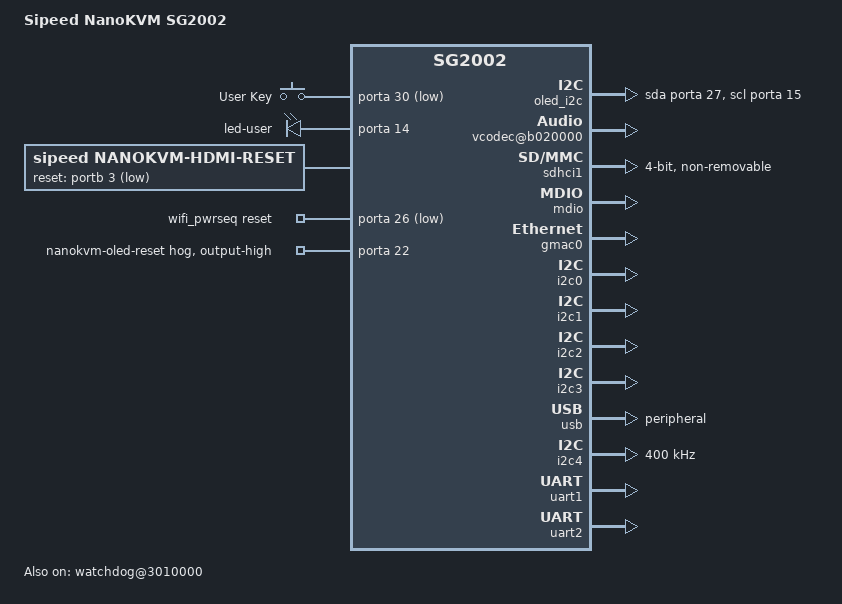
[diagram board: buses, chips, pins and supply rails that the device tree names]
// SPDX-License-Identifier: (GPL-2.0 OR MIT)
// Shared SG2002 resources and serial Full/PCIe wiring. Variant DTS owns identity.
#include "sg2002-licheerv-nano-b.dts"
#include <dt-bindings/input/input.h>
#include <dt-bindings/gpio/gpio.h>

/ {
	model = "Sipeed NanoKVM SG2002";
	compatible = "sipeed,nanokvm", "sophgo,sg2002";
	aliases {
		mmc0 = &sdhci0;
		mmc1 = &sdhci1;
		gpio4 = &gpio4;
		ethernet0 = &gmac0;
		i2c0 = &i2c0;
		i2c1 = &i2c1;
		i2c2 = &i2c2;
		i2c3 = &i2c3;
		i2c4 = &i2c4;
		i2c5 = &oled_i2c;
	};
	chosen {
		bootargs = "root=/dev/mmcblk0p2 rootwait rw console=ttyS0,115200 earlycon=sbi";
	};
	gpio-keys {
		compatible = "gpio-keys";
		pinctrl-names = "default";
		pinctrl-0 = <&nanokvm_boot_key_cfg>;
		key-user {
			label = "User Key";
			linux,code = <KEY_DISPLAYTOGGLE>;
			debounce-interval = <1>;
			gpios = <&porta 30 GPIO_ACTIVE_LOW>;
		};
	};
	leds {
		compatible = "gpio-leds";
		pinctrl-names = "default";
		pinctrl-0 = <&nanokvm_user_led_cfg>;
		led-user {
			label = "led-user";
			gpios = <&porta 14 GPIO_ACTIVE_HIGH>;
			linux,default-trigger = "activity";
		};
	};
	reserved-memory {
		#address-cells = <1>;
		#size-cells = <1>;
		ranges;
		// Match the actual OpenSBI PMP range copied by the installed U-Boot.
		// Equal ranges are deduplicated; a larger no-map node overlaps and fails.
		mmode_resv0@80000000 { reg = <0x80000000 0x40000>; no-map; };
		// Preserve the reservation used by the unchanged installed FIP.
		c906l@8d000000 { reg = <0x8d000000 0x200000>; no-map; };
		ion_region: ion {
			compatible = "shared-dma-pool";
			size = <0x04000000>;
			alignment = <0x00400000>;
			reusable;
		};
	};
	cvitek-ion {
		compatible = "cvitek,cvitek-ion";
		heap-carveout {
			compatible = "cvitek,carveout";
			memory-region = <&ion_region>;
			nanokvm,cma-backend;
		};
	};
	hdmi-reset {
		compatible = "sipeed,nanokvm-hdmi-reset";
		pinctrl-names = "default";
		pinctrl-0 = <&nanokvm_hdmi_reset_cfg>;
		reset-gpios = <&portb 3 GPIO_ACTIVE_LOW>;
	};
	oled_i2c: i2c-oled {
		compatible = "i2c-gpio";
		#address-cells = <1>;
		#size-cells = <0>;
		pinctrl-names = "default";
		pinctrl-0 = <&nanokvm_oled_i2c_cfg>;
		scl-gpios = <&porta 15 (GPIO_ACTIVE_HIGH | GPIO_OPEN_DRAIN)>;
		sda-gpios = <&porta 27 (GPIO_ACTIVE_HIGH | GPIO_OPEN_DRAIN)>;
		i2c-gpio,delay-us = <5>;
	};
	wifi_pwrseq: wifi-pwrseq {
		compatible = "mmc-pwrseq-simple";
		pinctrl-names = "default";
		pinctrl-0 = <&nanokvm_wifi_enable_cfg>;
		reset-gpios = <&porta 26 GPIO_ACTIVE_LOW>;
		post-power-on-delay-ms = <200>;
	};
	sys {
		compatible = "cvitek,sys";
	};

	base@a0c8000 {
		compatible = "cvitek,base";
		reg = <0xa0c8000 0x20 >;
		reg-names = "vip_sys";
		clocks = <&clk CLK_CFG_REG_VIP>;
		clock-names = "cfg_reg";
	};

	cif@a0c2000 {
		compatible = "cvitek,cif";
		pinctrl-names = "default";
		pinctrl-0 = <&nanokvm_csi_cfg>;
		reg = <0xa0c2000 0x2000 0xa0d0000 0x1000 0xa0c4000 0x2000 0xa0c6000 0x2000 0x3001c30 0x30 >;
		reg-names = "csi_mac0", "csi_wrap0", "csi_mac1", "csi_mac2", "pad_ctrl";
		// PCIe HDMI reset is GPIOB3, owned by hdmi-reset above. No CSI sensor
		// reset is wired to GPIOE1; do not claim the legacy LT interrupt pin.
		resets = <&rst 0x46 &rst 0x48 &rst 0x47 &rst 0x49>;
		reset-names = "phy0", "phy1", "phy-apb0", "phy-apb1";
		clocks = <&clk CLK_CAM0>, <&clk CLK_CAM1>, <&clk CLK_SRC_VIP_SYS_2>, <&clk CLK_MIPIMPLL>, <&clk CLK_DISPPLL>, <&clk CLK_FPLL>, <&clk CLK_CSI0_RX_VIP>;
		clock-names = "clk_cam0", "clk_cam1", "clk_sys_2", "clk_mipimpll", "clk_disppll", "clk_fpll", "csi0_rx";
		interrupts = <0x1a 0x04 0x1b 0x04>;
		interrupt-names = "csi0", "csi1";
		interrupt-parent = <&plic>;
	};

	vi@a000000 {
		compatible = "cvitek,vi";
		reg = <0xa000000 0x80000 >;
		clocks = <&clk CLK_SRC_VIP_SYS_0>, <&clk CLK_SRC_VIP_SYS_1>, <&clk CLK_SRC_VIP_SYS_2>, <&clk CLK_SRC_VIP_SYS_3>, <&clk CLK_AXI_VIP>, <&clk CLK_CSI_BE_VIP>, <&clk CLK_RAW_VIP>, <&clk CLK_ISP_TOP_VIP>, <&clk CLK_CSI_MAC0_VIP>, <&clk CLK_CSI_MAC1_VIP>, <&clk CLK_CSI_MAC2_VIP>;
		clock-names = "clk_sys_0", "clk_sys_1", "clk_sys_2", "clk_sys_3", "clk_axi", "clk_csi_be", "clk_raw", "clk_isp_top", "clk_csi_mac0", "clk_csi_mac1", "clk_csi_mac2";
		clock-freq-vip-sys1 = <0x11e1a300>;
		interrupts = <0x18 0x04>;
		interrupt-parent = <&plic>;
		interrupt-names = "isp";
	};

	vpss@a080000 {
		compatible = "cvitek,vpss";
		reg = <0xa080000 0x10000 0xa0d1000 0x100 >;
		reg-names = "sc";
		clocks = <&clk CLK_SRC_VIP_SYS_0>, <&clk CLK_SRC_VIP_SYS_1>, <&clk CLK_SRC_VIP_SYS_2>, <&clk CLK_IMG_D_VIP>, <&clk CLK_IMG_V_VIP>, <&clk CLK_SC_TOP_VIP>, <&clk CLK_SC_D_VIP>, <&clk CLK_SC_V1_VIP>, <&clk CLK_SC_V2_VIP>, <&clk CLK_SC_V3_VIP>;
		clock-names = "clk_sys_0", "clk_sys_1", "clk_sys_2", "clk_img_d", "clk_img_v", "clk_sc_top", "clk_sc_d", "clk_sc_v1", "clk_sc_v2", "clk_sc_v3";
		clock-freq-vip-sys1 = <0x11e1a300>;
		interrupts = <0x19 0x04>;
		interrupt-names = "sc";
		interrupt-parent = <&plic>;
	};

	rgn {
		compatible = "cvitek,rgn";
	};

	vcodec@b020000 {
		compatible = "cvitek,asic-vcodec";
		reg = <0xb020000 0x10000 0xb010000 0x10000 0xb030000 0x100 0xb058000 0x100 0xb050000 0x400 >;
		reg-names = "h265", "h264", "vc_ctrl", "vc_sbm", "vc_addr_remap";
		clocks = <&clk CLK_AXI_VIDEO_CODEC>, <&clk CLK_H264C>, <&clk CLK_APB_H264C>, <&clk CLK_H265C>, <&clk CLK_APB_H265C>, <&clk CLK_VC_SRC0>, <&clk CLK_VC_SRC1>, <&clk CLK_VC_SRC2>, <&clk CLK_CFG_REG_VC>;
		clock-names = "clk_axi_video_codec", "clk_h264c", "clk_apb_h264c", "clk_h265c", "clk_apb_h265c", "clk_vc_src0", "clk_vc_src1", "clk_vc_src2", "clk_cfg_reg_vc";
		interrupts = <0x16 0x04 0x15 0x04 0x17 0x04>;
		interrupt-names = "h265", "h264", "sbm";
		interrupt-parent = <&plic>;
	};

	jpu@b000000 {
		compatible = "cvitek,asic-jpeg";
		reg = <0xb000000 0x300 0xb030000 0x100 0xb058000 0x100 >;
		reg-names = "jpeg", "vc_ctrl", "vc_sbm";
		clocks = <&clk CLK_AXI_VIDEO_CODEC>, <&clk CLK_JPEG>, <&clk CLK_APB_JPEG>, <&clk CLK_VC_SRC0>, <&clk CLK_VC_SRC1>, <&clk CLK_VC_SRC2>, <&clk CLK_CFG_REG_VC>;
		clock-names = "clk_axi_video_codec", "clk_jpeg", "clk_apb_jpeg", "clk_vc_src0", "clk_vc_src1", "clk_vc_src2", "clk_cfg_reg_vc";
		resets = <&rst 0x04>;
		reset-names = "jpeg";
		interrupts = <0x14 0x04>;
		interrupt-names = "jpeg";
		interrupt-parent = <&plic>;
	};

	cvi-vc-drv@b030000 {
		compatible = "cvitek,cvi_vc_drv";
		reg = <0xb030000 0x100 0xb058000 0x100 0xb050000 0x400 >;
		reg-names = "vc_ctrl", "vc_sbm", "vc_addr_remap";
	};

	ive@a0a0000 {
		compatible = "cvitek,ive";
		reg = <0xa0a0000 0x3100 >;
		reg-names = "ive_base";
		clocks = <&clk CLK_CFG_REG_VIP>, <&clk CLK_IVE_VIP>,
			 <&clk CLK_SRC_VIP_SYS_1>;
		clock-names = "cfg_reg", "ive", "core";
		interrupt-names = "ive_irq";
		interrupt-parent = <&plic>;
		interrupts = <0x61 0x04>;
	};

	dwa@a0c0000 {
		compatible = "cvitek,dwa";
		reg = <0xa0c0000 0x1000 >;
		reg-names = "dwa";
		clocks = <&clk CLK_SRC_VIP_SYS_0>, <&clk CLK_SRC_VIP_SYS_1>, <&clk CLK_SRC_VIP_SYS_2>, <&clk CLK_SRC_VIP_SYS_3>, <&clk CLK_SRC_VIP_SYS_4>, <&clk CLK_DWA_VIP>;
		clock-names = "clk_sys_0", "clk_sys_1", "clk_sys_2", "clk_sys_3", "clk_sys_4", "clk_dwa";
		clock-freq-vip-sys1 = <0x11e1a300>;
		interrupts = <0x1c 0x04>;
		interrupt-names = "dwa";
		interrupt-parent = <&plic>;
	};

	vo@a080000 {
		compatible = "cvitek,vo";
		reg = <0xa080000 0x10000 0xa0c8000 0xa0 0xa0d1000 0x100 >;
		reg-names = "sc", "vip_sys", "dphy";
		clocks = <&clk CLK_DISP_VIP>, <&clk CLK_DSI_MAC_VIP>, <&clk CLK_BT_VIP>;
		clock-names = "clk_disp", "clk_dsi", "clk_bt";
	};

	fast-image {
		compatible = "cvitek,rtos_image";
		ion-size = <0x1600000>;
	};
};

&cpu0 {
	#cooling-cells = <2>;
	// C906 has the pre-ratification T-Head vector ISA, not standard RVV 1.0.
	riscv,isa-extensions = "i", "m", "a", "f", "d", "c", "zicntr", "zicsr",
			       "zifencei", "zihpm", "xtheadvector";
};
&{/soc} {
	soc_temp: temperature-sensor@30e0000 {
		compatible = "sophgo,sg2002-tempsen";
		reg = <0x030e0000 0x1000>;
		clocks = <&clk CLK_TEMPSEN>;
		#thermal-sensor-cells = <0>;
	};
	gpio4: gpio@5021000 {
		compatible = "snps,dw-apb-gpio";
		reg = <0x05021000 0x1000>;
		#address-cells = <1>;
		#size-cells = <0>;
		porte: gpio-controller@0 {
			compatible = "snps,dw-apb-gpio-port";
			reg = <0>;
			gpio-controller;
			#gpio-cells = <2>;
			snps,nr-gpios = <32>;
			interrupt-controller;
			#interrupt-cells = <2>;
			interrupts = <70 IRQ_TYPE_LEVEL_HIGH>;
		};
	};
	efuse@3050000 {
		compatible = "sophgo,sg2002-efuse";
		reg = <0x03050000 0x1000>;
		clocks = <&clk CLK_EFUSE>;
	};
};
&pinctrl {
	sdhci1_cfg: sdhci1-cfg {
		sdio-clock-pins {
			power-source = <3300>;
			pinmux = <PINMUX(PIN_SD1_CLK, 0)>;
		};
		sdio-command-data-pins {
			power-source = <3300>;
			bias-pull-up;
			pinmux = <PINMUX(PIN_SD1_CMD, 0)>,
				 <PINMUX(PIN_SD1_D0, 0)>, <PINMUX(PIN_SD1_D1, 0)>,
				 <PINMUX(PIN_SD1_D2, 0)>, <PINMUX(PIN_SD1_D3, 0)>;
		};
	};
};
&sdhci1 {
	// Module VDDIO is tied to VDD3V3_SYS; no 1.8 V switching circuitry.
	no-1-8-v;
	pinctrl-0 = <&sdhci1_cfg>;
	pinctrl-names = "default";
	bus-width = <4>;
	max-frequency = <50000000>;
	non-removable;
	no-mmc;
	no-sd;
	keep-power-in-suspend;
	mmc-pwrseq = <&wifi_pwrseq>;
	status = "okay";
};
&mdio { status = "okay"; };
&gmac0 { status = "okay"; };
&i2c0 { status = "okay"; };
&i2c1 { status = "okay"; };
&i2c2 { status = "okay"; };
&i2c3 { status = "okay"; };
&usb {
	dr_mode = "peripheral";
	// Working device's FIFO partition, required for composite gadgets.
	g-rx-fifo-size = <536>;
	g-np-tx-fifo-size = <32>;
	g-tx-fifo-size = <768 512 512 384 128 128>;
	status = "okay";
};

&pinctrl {
	nanokvm_boot_key_cfg: nanokvm-boot-key-cfg {
		boot-key-pins {
			pinmux = <PINMUX(PIN_AUX0, 3)>;
			bias-pull-up;
			power-source = <3300>;
		};
	};
	nanokvm_user_led_cfg: nanokvm-user-led-cfg {
		user-led-pins {
			pinmux = <PINMUX(PIN_SD0_PWR_EN, 3)>;
			bias-disable;
			drive-strength-microamp = <10800>;
			power-source = <3300>;
		};
	};
};

// GPIO hogs hold only board enable/reset lines. ATX lines remain available
// to the server's exclusive GPIO-v2 requests; these are not ATX buttons.
&gpio0 {
	pinctrl-names = "default";
	pinctrl-0 = <&nanokvm_board_outputs_cfg &nanokvm_atx_cfg>;
};

&porta {
	oled-reset-hog {
		gpio-hog;
		gpios = <22 GPIO_ACTIVE_HIGH>;
		output-high;
		line-name = "nanokvm-oled-reset";
	};
};
&i2c4 {
	pinctrl-names = "default";
	pinctrl-0 = <&nanokvm_hdmi_i2c_cfg>;
	clock-frequency = <400000>;
	status = "okay";
};
&uart1 {
	pinctrl-names = "default";
	pinctrl-0 = <&nanokvm_uart1_cfg>;
	status = "okay";
};
&uart2 {
	pinctrl-names = "default";
	pinctrl-0 = <&nanokvm_uart2_cfg>;
	status = "okay";
};
&pinctrl {
	nanokvm_oled_i2c_cfg: nanokvm-oled-i2c-cfg {
		oled-pins {
			pinmux = <PINMUX(PIN_SPK_EN, 3)>, <PINMUX(PIN_EMMC_DAT3, 3)>;
			power-source = <3300>;
		};
	};
	nanokvm_board_outputs_cfg: nanokvm-board-outputs-cfg {
		board-pins {
			pinmux = <PINMUX(PIN_EMMC_CLK, 3)>;
			power-source = <3300>;
		};
	};
	nanokvm_wifi_enable_cfg: nanokvm-wifi-enable-cfg {
		wifi-enable-pins {
			pinmux = <PINMUX(PIN_EMMC_DAT2, 3)>;
			power-source = <3300>;
		};
	};
	nanokvm_atx_cfg: nanokvm-atx-cfg {
		atx-pins {
			pinmux = <PINMUX(PIN_EMMC_CMD, 3)>, <PINMUX(PIN_EMMC_DAT0, 3)>,
				 <PINMUX(PIN_EMMC_DAT1, 3)>;
			power-source = <3300>;
		};
	};
	nanokvm_hdd_led_cfg: nanokvm-hdd-led-cfg {
		hdd-led-pins {
			// PWR_SEQ1 is wired through U46 to the host HDD LED, active low.
			pinmux = <PINMUX(PIN_PWR_SEQ1, 3)>;
			power-source = <1800>;
			bias-disable;
		};
	};
	nanokvm_hdmi_reset_cfg: nanokvm-hdmi-reset-cfg {
		hdmi-reset-pins {
			pinmux = <PINMUX(PIN_ADC1, 3)>;
			power-source = <1800>;
		};
	};
	nanokvm_hdmi_i2c_cfg: nanokvm-hdmi-i2c-cfg {
		hdmi-i2c-pins {
			// Actual PCIe CAM_SCL/CAM_SDA, not legacy ADC3/ADC2 recovery pads.
			pinmux = <PINMUX(PIN_PWR_WAKEUP0, 5)>, <PINMUX(PIN_PWR_BUTTON1, 5)>;
			power-source = <1800>;
		};
	};
	nanokvm_uart1_cfg: nanokvm-uart1-cfg {
		uart1-pins {
			pinmux = <PINMUX(PIN_JTAG_CPU_TMS, 6)>, <PINMUX(PIN_JTAG_CPU_TCK, 6)>;
			power-source = <3300>;
		};
	};
	nanokvm_uart2_cfg: nanokvm-uart2-cfg {
		uart2-pins {
			pinmux = <PINMUX(PIN_IIC0_SCL, 2)>, <PINMUX(PIN_IIC0_SDA, 2)>;
			power-source = <3300>;
		};
	};
};

&pinctrl {
	nanokvm_csi_cfg: nanokvm-csi-cfg {
		csi-pins {
			/* LT6911UXC: one clock pair and four data pairs. */
			pinmux = <PINMUX(PIN_MIPIRX0P, 3)>, <PINMUX(PIN_MIPIRX0N, 3)>,
				 <PINMUX(PIN_MIPIRX1P, 3)>, <PINMUX(PIN_MIPIRX1N, 3)>,
				 <PINMUX(PIN_MIPIRX2P, 3)>, <PINMUX(PIN_MIPIRX2N, 3)>,
				 <PINMUX(PIN_MIPIRX3P, 3)>, <PINMUX(PIN_MIPIRX3N, 3)>,
				 <PINMUX(PIN_MIPIRX4P, 3)>, <PINMUX(PIN_MIPIRX4N, 3)>;
			power-source = <1800>;
			bias-disable;
		};
	};
};

// Reset mode; no pretimeout interrupt. Clock and reset IDs match qualified DT.
&{/soc} {
    watchdog@3010000 {
        compatible = "snps,dw-wdt";
        reg = <0x03010000 0x1000>;
        clocks = <&clk 58>;
        resets = <&rst 48>;
        timeout-sec = <30>;
        status = "okay";
    };
};

/* The cooling state 6 is the 850 MHz entry in sg2002-cpufreq.
 * The user-selected frequency remains the userspace governor's target.
 */
/ {
	thermal-zones {
		sg2002-cpu {
			polling-delay = <1000>;
			polling-delay-passive = <1000>;
			thermal-sensors = <&soc_temp>;
			trips {
				cpu_hot: cpu-hot {
					temperature = <75000>;
					hysteresis = <5000>;
					type = "passive";
				};
			};
			cooling-maps {
				cpu-cooling {
					trip = <&cpu_hot>;
					cooling-device = <&cpu0 6 6>;
				};
			};
		};
	};
};
